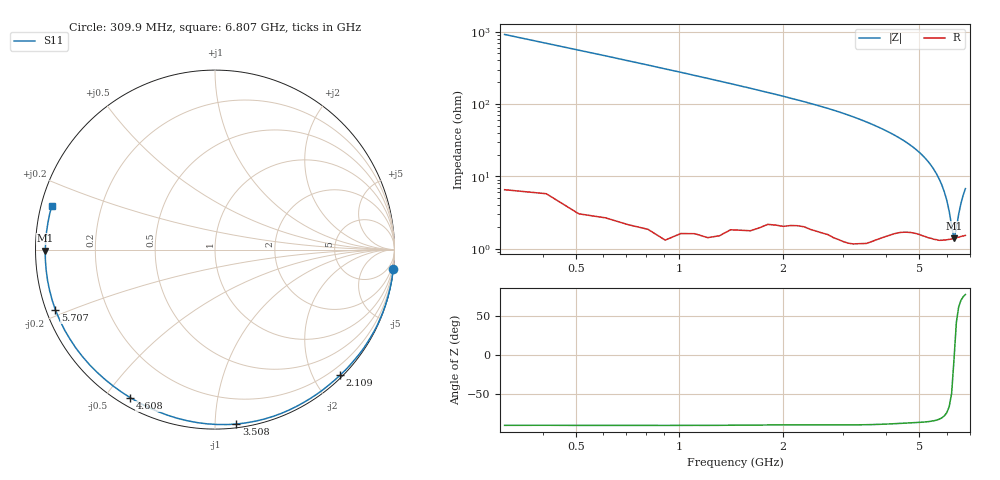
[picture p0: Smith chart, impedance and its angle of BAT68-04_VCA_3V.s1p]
! Infineon Technologies  Discrete & RF Semiconductors
! BAT68-04
! VCA = 3 V
! One-Port S-Parameters
# Hz  S  MA  R  50
!f  S11
!Hz  Mag  Ang
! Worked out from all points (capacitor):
!   66 points, 309.9 MHz to 6.807 GHz, reference 50 ohm
!   read as one part to ground: C = 559 fF near 309.9 MHz
!   lowest |Z| = 1.4 ohm at 6.307 GHz (marker M1)
!   series resonance near 6.316 GHz, so ESL is about 1.1 nH
!   S11 on the Smith chart (normalised r, x): 309.9 MHz: 0, -18; 2.109 GHz: 0.04, -2.41; 3.508 GHz: 0.02, -1.13; 4.608 GHz: 0.03, -0.58; 5.707 GHz: 0.03, -0.18; 6.807 GHz: 0.03, +0.13
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3.0985e8  0.9992 -6.3
6.097e8  0.9988 -12.3
8.096e8  0.9985 -16.4
1.2094e9  0.9973 -24.9
1.6092e9  0.9941 -33.6
2.009e9  0.9892 -42.7
2.10895e9  0.9878 -45.0
2.50875e9  0.9853 -54.7
2.8086e9  0.9848 -62.5
2.90855e9  0.9846 -65.1
3.2084e9  0.9833 -73.8
3.50825e9  0.9794 -83.0
3.6082e9  0.9771 -86.1
3.8081e9  0.9718 -92.6
4.008e9  0.966 -99.2
4.2079e9  0.9598 -105.9
4.4078e9  0.9543 -112.8
4.6077e9  0.9506 -119.7
4.90755e9  0.9481 -130.3
5.10745e9  0.9487 -137.4
5.2074e9  0.9489 -141.1
5.50725e9  0.9502 -152.0
5.70715e9  0.9505 -159.2
5.90705e9  0.9492 -166.3
6.007e9  0.9485 -169.7
6.30685e9  0.9459 -179.7
6.50675e9  0.9438 174.0
6.8066e9  0.9415 164.9
